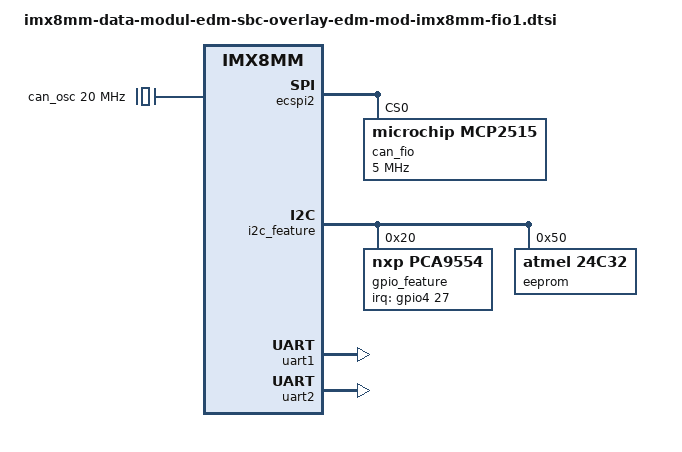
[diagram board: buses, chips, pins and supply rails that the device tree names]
// SPDX-License-Identifier: (GPL-2.0+ OR MIT)
/*
 * Copyright 2026 Marek Vasut
 */

#include <dt-bindings/gpio/gpio.h>
#include <dt-bindings/interrupt-controller/arm-gic.h>

&{/} {
	can_osc: can-osc {
		compatible = "fixed-clock";
		#clock-cells = <0>;
		clock-frequency = <20000000>;
	};
};

&ecspi2 {
	#address-cells = <1>;
	#size-cells = <0>;
	status = "okay";

	can_fio: can@0 {
		compatible = "microchip,mcp2515";
		reg = <0>;
		pinctrl-names = "default";
		pinctrl-0 = <&pinctrl_can>;
		clocks = <&can_osc>;
		spi-max-frequency = <5000000>;
	};
};

&i2c_feature {	/* Feature connector I2C */
	#address-cells = <1>;
	#size-cells = <0>;

	gpio_feature: io-expander@20 {
		compatible = "nxp,pca9554";
		reg = <0x20>;
		pinctrl-names = "default";
		pinctrl-0 = <&pinctrl_gpio_expander>;
		#gpio-cells = <2>;
		gpio-controller;
		#interrupt-cells = <2>;
		interrupt-controller;
		interrupt-parent = <&gpio4>;
		interrupts = <27 IRQ_TYPE_LEVEL_LOW>;
		gpio-line-names =
			"GPIO1_output", "GPIO1_input",
			"GPIO2_output", "GPIO2_input",
			"GPIO3_output", "GPIO3_input",
			"PCA9511A_READY", "";
	};

	eeprom@50 {
		compatible = "atmel,24c32";
		reg = <0x50>;
		pagesize = <32>;
	};
};

&uart1 {	/* J500/J501 */
	status = "okay";
};

&uart2 {	/* RS485 J302/J303 */
	linux,rs485-enabled-at-boot-time;
	uart-has-rtscts;
	status = "okay";
};
